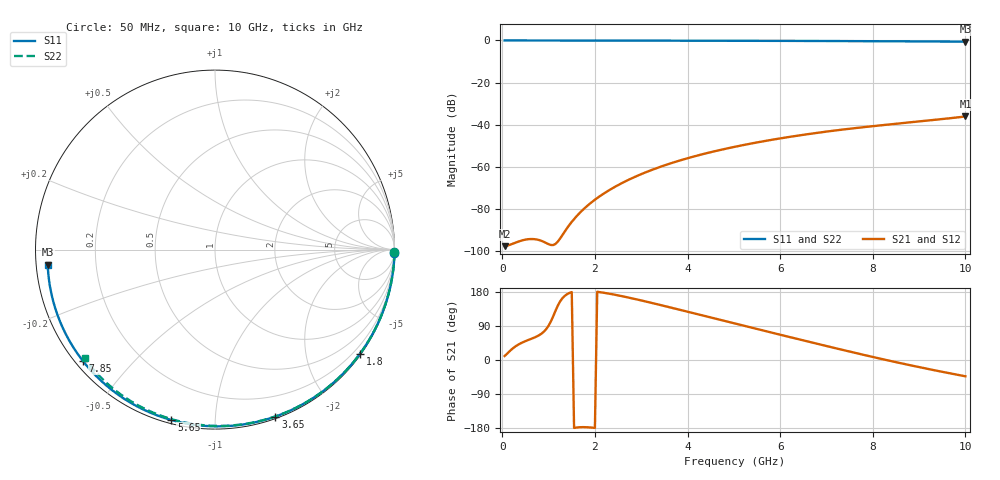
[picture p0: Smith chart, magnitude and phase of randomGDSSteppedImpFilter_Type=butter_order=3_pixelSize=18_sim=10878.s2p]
! freq	dB(S11)	phase(S11)	dB(S12)	phase(S12)
!  dB(S21)	phase(S21)	dB(S22)	phase(S22)
!S-par simulation data
#  GHz  S  DB  R 50
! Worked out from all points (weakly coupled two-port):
!   200 points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, 50 MHz to 10 GHz, reference 50 ohm
!   highest |S21| = -36.10 dB at 10 GHz (marker M1); lowest = -97.7 dB at 50 MHz (marker M2)
!   lowest |S11| = -0.6 dB at 10 GHz (marker M3), VSWR 30.11, Z = 1.66 - j2.22 ohm
!   |S11| at or under -10 dB: nowhere
!   |S22| runs from -0.5 to 0.0 dB; largest |S21 - S12| = 0
!   S11 on the Smith chart (normalised r, x): 50 MHz: open; 1.8 GHz: 0.03, -3.11; 3.65 GHz: 0.02, -1.42; 5.65 GHz: 0.02, -0.78; 7.85 GHz: 0.02, -0.37; 10 GHz: 0.03, -0.04
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0.05  -0.00 -1.0  -97.70 10.5  -97.70 10.5  -0.00 -0.8
0.45  -0.01 -9.1  -94.83 47.2  -94.83 47.2  -0.01 -7.3
0.85  -0.02 -17.0  -95.20 69.9  -95.20 69.9  -0.02 -13.6
1.3  -0.03 -25.9  -92.34 163.3  -92.34 163.3  -0.03 -20.8
1.75  -0.04 -34.7  -80.22 -177.1  -80.22 -177.1  -0.04 -27.8
1.8  -0.05 -35.6  -79.21 -177.3  -79.21 -177.3  -0.04 -28.6
2.1  -0.05 -41.4  -74.05 179.1  -74.05 179.1  -0.04 -33.2
2.3  -0.06 -45.2  -71.21 175.2  -71.21 175.2  -0.05 -36.3
2.5  -0.06 -49.0  -68.70 170.6  -68.70 170.6  -0.05 -39.4
2.9  -0.07 -56.5  -64.43 160.0  -64.43 160.0  -0.06 -45.4
3.4  -0.09 -65.6  -60.10 145.6  -60.10 145.6  -0.07 -52.9
3.65  -0.09 -70.1  -58.25 138.1  -58.25 138.1  -0.08 -56.6
4.35  -0.12 -82.4  -53.87 116.7  -53.87 116.7  -0.10 -66.7
5.05  -0.15 -94.4  -50.36 95.4  -50.36 95.4  -0.12 -76.5
5.65  -0.17 -104.4  -47.83 77.3  -47.83 77.3  -0.14 -84.7
6.15  -0.20 -112.5  -45.98 62.2  -45.98 62.2  -0.16 -91.3
6.7  -0.24 -121.4  -44.18 45.8  -44.18 45.8  -0.19 -98.5
7.3  -0.28 -131.0  -42.46 28.0  -42.46 28.0  -0.23 -106.2
7.85  -0.33 -139.7  -41.06 12.2  -41.06 12.2  -0.27 -113.1
8.35  -0.38 -147.7  -39.91 -1.7  -39.91 -1.7  -0.30 -119.4
9.2  -0.47 -161.5  -38.03 -23.8  -38.03 -23.8  -0.39 -129.9
10  -0.58 -174.9  -36.10 -43.0  -36.10 -43.0  -0.49 -140.1
